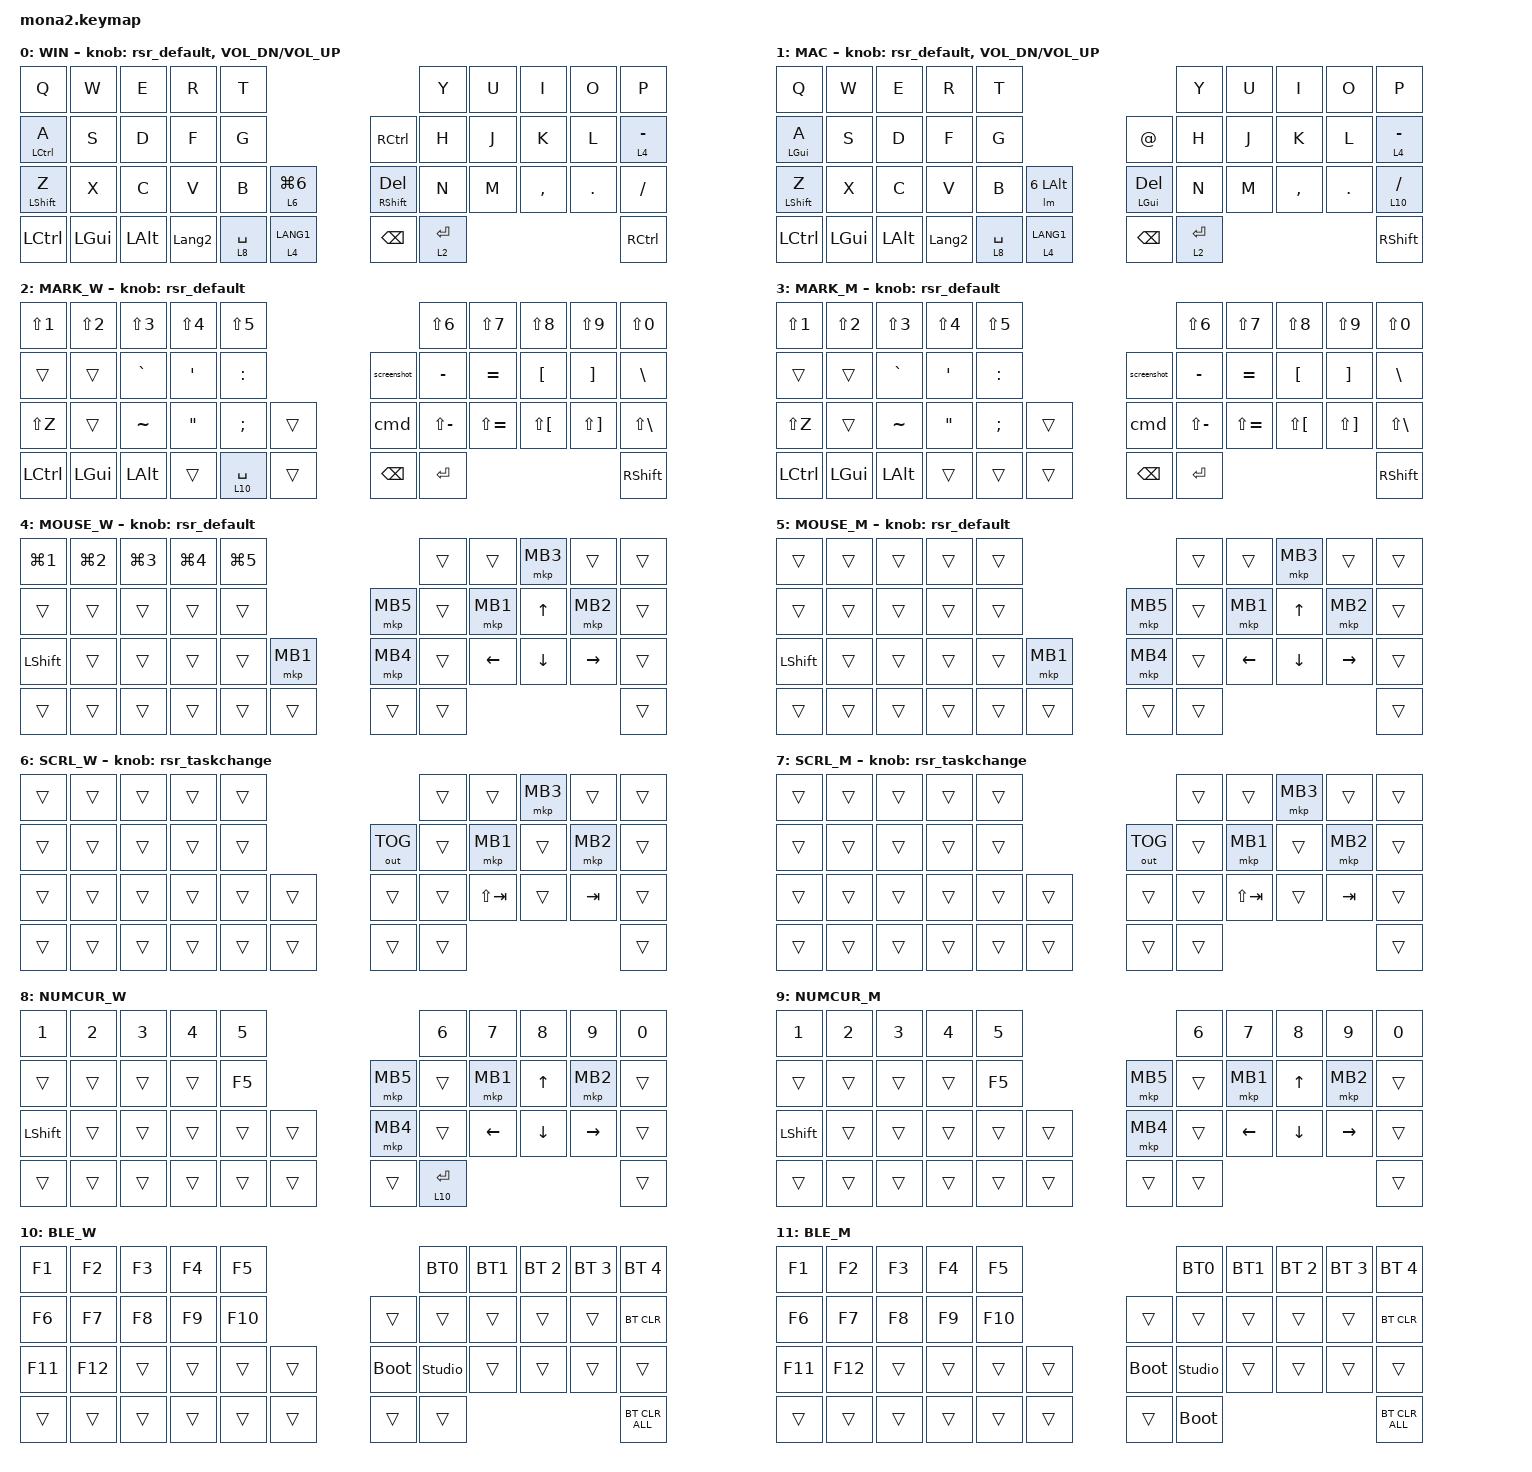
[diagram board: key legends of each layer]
#include <input/processors.dtsi>
#include <dt-bindings/zmk/input_transform.h>
#include <zephyr/dt-bindings/input/input-event-codes.h>
#include <behaviors/runtime-sensor-rotate.dtsi>
#include <behaviors.dtsi>
#include <dt-bindings/zmk/bt.h>
#include <dt-bindings/zmk/keys.h>
#include <dt-bindings/zmk/outputs.h>
#include <dt-bindings/zmk/pointing.h>

/* ZMK 側で 10 が定義済みなので警告回避のため一旦 undef */

#undef ZMK_POINTING_DEFAULT_SCRL_VAL

#define ZMK_POINTING_DEFAULT_SCRL_VAL 100
#include <dt-bindings/zmk/pointing.h>

&mt {
    flavor = "balanced";
    tapping-term-ms = <150>;
    require-prior-idle-ms = <100>;
};

&lt {
    flavor = "balanced";
    tapping-term-ms = <150>;
};

&msc {
    delay-ms = <0>;
    time-to-max-speed-ms = <0>;
    acceleration-exponent = <0>;
};

/ {
    combos {
        compatible = "zmk,combos";

        layer4_ESC {
            bindings = <&lt 4 ESC>;
            key-positions = <38 39>;
        };

        tab {
            bindings = <&kp TAB>;
            key-positions = <11 12>;
        };

        left_click {
            bindings = <&mkp MB1>;
            key-positions = <17 18>;
        };

        right_click {
            bindings = <&mkp MB2>;
            key-positions = <18 19>;
        };
    };

    macros {
        to_layer_0: to_layer_0 {
            compatible = "zmk,behavior-macro-one-param";
            #binding-cells = <1>;
            bindings = <&to 0 &macro_param_1to1 &kp MACRO_PLACEHOLDER>;
            label = "TO_LAYER_0";
        };

        BT0: BT0 {
            compatible = "zmk,behavior-macro";
            #binding-cells = <0>;
            bindings =
                <&tog_off 0 &tog_off 1>,
                <&macro_wait_time 200>,
                <&bt BT_SEL 0>,
                <&macro_wait_time 500>,
                <&tog_on 0>;

            label = "BT0";
        };

        BT1: BT1 {
            compatible = "zmk,behavior-macro";
            #binding-cells = <0>;
            bindings =
                <&tog_off 0 &tog_off 1>,
                <&macro_wait_time 200>,
                <&bt BT_SEL 1>,
                <&macro_wait_time 500>,
                <&tog_on 1>;

            label = "BT1";
        };

        screenshot: screenshot {
            compatible = "zmk,behavior-macro";
            #binding-cells = <0>;
            bindings =
                <&macro_press>,
                <&kp LEFT_GUI &kp RSHIFT>,
                <&macro_wait_time 20>,
                <&macro_tap>,
                <&kp S>,
                <&macro_release>,
                <&kp LEFT_GUI &kp RSHIFT>;

            label = "SCREENSHOT";
        };

        cmd: cmd {
            compatible = "zmk,behavior-macro";
            #binding-cells = <0>;
            bindings =
                <&macro_press>,
                <&kp LEFT_GUI &kp RSHIFT>,
                <&macro_wait_time 20>,
                <&macro_tap>,
                <&kp Z>,
                <&macro_release>,
                <&kp LEFT_GUI &kp RSHIFT>;

            label = "CMD";
        };

        lm: lm {
            compatible = "zmk,behavior-macro-two-param";
            wait-ms = <0>;
            tap-ms = <0>;
            #binding-cells = <2>;
            bindings =
                <&macro_param_1to1>,
                <&macro_press>,
                <&mo MACRO_PLACEHOLDER &macro_param_2to1>,
                <&macro_press>,
                <&kp MACRO_PLACEHOLDER>,
                <&macro_pause_for_release>,
                <&macro_param_2to1>,
                <&macro_release>,
                <&kp MACRO_PLACEHOLDER &macro_param_1to1>,
                <&macro_release>,
                <&mo MACRO_PLACEHOLDER>;
        };
    };

    behaviors {
        lt_to_layer_0: lt_to_layer_0 {
            compatible = "zmk,behavior-hold-tap";
            label = "LAYER_TAP_TO_0";
            bindings = <&mo>, <&to_layer_0>;

            #binding-cells = <2>;
            tapping-term-ms = <200>;
        };

        tp_repeat_mo1: tp_repeat_mo1 {
            compatible = "zmk,behavior-hold-tap";
            label = "TP_REPEAT_MO1";
            bindings = <&mo>, <&key_repeat>;

            #binding-cells = <2>;
            tapping-term-ms = <200>;
        };

        // エンコーダ用 runtime-configurable sensor rotate
        // デフォルトはスクロール (cw=SCRL_DOWN, ccw=SCRL_UP)
        // DYA Studio Web UI から レイヤーごとに cw/ccw の binding を
        // kp C_VOL_UP/DN や kp LEFT/RIGHT などへ動的変更可能

        rsr_default: rsr_default {
            compatible = "zmk,behavior-runtime-sensor-rotate";
            #sensor-binding-cells = <0>;
            tap-ms = <16>;
            cw-binding = <&msc SCRL_DOWN>;
            ccw-binding = <&msc SCRL_UP>;
        };

        // DYA Studio対応 エンコーダータスク切換えアサイン
        rsr_taskchange: rsr_taskchange {
            compatible = "zmk,behavior-runtime-sensor-rotate";
            #sensor-binding-cells = <0>;
            cw-binding = <&kp TAB>;
            ccw-binding = <&kp LS(TAB)>;
        };

        tog_on: toggle_layer_on_only {
            compatible = "zmk,behavior-toggle-layer";
            #binding-cells = <1>;
            display-name = "Toggle Layer On";
            toggle-mode = "on";
        };

        tog_off: toggle_layer_off_only {
            compatible = "zmk,behavior-toggle-layer";
            #binding-cells = <1>;
            display-name = "Toggle Layer Off";
            toggle-mode = "off";
        };
    };

    keymap {
        compatible = "zmk,keymap";

        win_layer {
            display-name = "WIN";
            bindings = <
&kp Q             &kp W         &kp E         &kp R           &kp T                                         &kp Y         &kp U  &kp I      &kp O    &kp P
&mt LCTRL A       &kp S         &kp D         &kp F           &kp G                       &kp RCTRL            &kp H         &kp J  &kp K      &kp L    &lt 4 MINUS
&mt LEFT_SHIFT Z  &kp X         &kp C         &kp V           &kp B        &lt 6 LG(N6)     &mt RSHIFT DELETE  &kp N         &kp M  &kp COMMA  &kp DOT  &kp SLASH
&kp LCTRL         &kp LEFT_GUI  &kp LEFT_ALT  &kp LANGUAGE_2  &lt 8 SPACE  &lt 4 LANG1    &kp BACKSPACE     &lt 2 RETURN                             &kp RCTRL
            >;

            sensor-bindings = <&rsr_default>, <&inc_dec_kp C_VOL_DN C_VOL_UP>;
        };

        mac_layer {
            display-name = "MAC";
            bindings = <
&kp Q             &kp W         &kp E         &kp R           &kp T                                         &kp Y         &kp U  &kp I      &kp O    &kp P
&mt LGUI A       &kp S         &kp D         &kp F           &kp G                       &kp AT            &kp H         &kp J  &kp K      &kp L    &lt 4 MINUS
&mt LEFT_SHIFT Z  &kp X         &kp C         &kp V           &kp B        &lm 6 LALT     &mt LGUI DELETE  &kp N         &kp M  &kp COMMA  &kp DOT  &lt 10 SLASH
&kp LCTRL         &kp LEFT_GUI  &kp LEFT_ALT  &kp LANGUAGE_2  &lt 8 SPACE  &lt 4 LANG1    &kp BACKSPACE     &lt 2 RETURN                             &kp RIGHT_SHIFT
            >;

            sensor-bindings = <&rsr_default>, <&inc_dec_kp C_VOL_DN C_VOL_UP>;
        };

        win_mark {
            display-name = "MARK_W";
            bindings = <
&kp LS(N1)  &kp LS(N2)    &kp LS(N3)    &kp LS(N4)         &kp LS(N5)                              &kp LS(N6)     &kp LS(N7)     &kp LS(N8)    &kp LS(N9)    &kp LS(N0)
&trans      &trans        &kp GRAVE     &kp SINGLE_QUOTE   &kp COLON                &screenshot    &kp MINUS      &kp EQUAL      &kp LBKT      &kp RBKT      &kp BACKSLASH
&kp LS(Z)   &trans        &kp TILDE     &kp DOUBLE_QUOTES  &kp SEMICOLON  &trans    &cmd           &kp LS(MINUS)  &kp LS(EQUAL)  &kp LS(LBKT)  &kp LS(RBKT)  &kp LS(BACKSLASH)
&kp LCTRL   &kp LEFT_GUI  &kp LEFT_ALT  &trans             &lt 10 SPACE      &trans    &kp BACKSPACE  &kp RET                                                   &kp RIGHT_SHIFT
            >;

            sensor-bindings = <&rsr_default>;
        };

        mac_mark {
            display-name = "MARK_M";
            bindings = <
&kp LS(N1)  &kp LS(N2)    &kp LS(N3)    &kp LS(N4)         &kp LS(N5)                              &kp LS(N6)     &kp LS(N7)     &kp LS(N8)    &kp LS(N9)    &kp LS(N0)
&trans      &trans        &kp GRAVE     &kp SINGLE_QUOTE   &kp COLON                &screenshot    &kp MINUS      &kp EQUAL      &kp LBKT      &kp RBKT      &kp BACKSLASH
&kp LS(Z)   &trans        &kp TILDE     &kp DOUBLE_QUOTES  &kp SEMICOLON  &trans    &cmd           &kp LS(MINUS)  &kp LS(EQUAL)  &kp LS(LBKT)  &kp LS(RBKT)  &kp LS(BACKSLASH)
&kp LCTRL   &kp LEFT_GUI  &kp LEFT_ALT  &trans             &trans         &trans    &kp BACKSPACE  &kp RET                                                   &kp RIGHT_SHIFT
            >;

            sensor-bindings = <&rsr_default>;
        };

        win_mouse {
            display-name = "MOUSE_W";
            bindings = <
&kp LG(N1)  &kp LG(N2)  &kp LG(N3)  &kp LG(N4)  &kp LG(N5)         &trans  &trans        &mkp MB3  &trans     &trans
&trans      &trans  &trans  &trans  &trans              &mkp MB5  &trans  &mkp MB1      &kp UP    &mkp MB2   &trans
&kp LSHIFT  &trans  &trans  &trans  &trans  &mkp MB1    &mkp MB4  &trans  &kp LEFT      &kp DOWN  &kp RIGHT  &trans
&trans      &trans  &trans  &trans  &trans  &trans      &trans    &trans                                     &trans
            >;

            sensor-bindings = <&rsr_default>;
        };

        mac_mouse {
            display-name = "MOUSE_M";
            bindings = <
&trans      &trans  &trans  &trans  &trans                        &trans  &trans        &mkp MB3  &trans     &trans
&trans      &trans  &trans  &trans  &trans              &mkp MB5  &trans  &mkp MB1      &kp UP    &mkp MB2   &trans
&kp LSHIFT  &trans  &trans  &trans  &trans  &mkp MB1    &mkp MB4  &trans  &kp LEFT      &kp DOWN  &kp RIGHT  &trans
&trans      &trans  &trans  &trans  &trans  &trans      &trans    &trans                                     &trans
            >;

            sensor-bindings = <&rsr_default>;
        };

        win_scroll {
            display-name = "SCRL_W";
            bindings = <
&trans  &trans  &trans  &trans  &trans                          &trans  &trans       &mkp MB3  &trans    &trans
&trans  &trans  &trans  &trans  &trans            &out OUT_TOG  &trans  &mkp MB1     &trans    &mkp MB2  &trans
&trans  &trans  &trans  &trans  &trans  &trans    &trans        &trans  &kp LS(TAB)  &trans    &kp TAB   &trans
&trans  &trans  &trans  &trans  &trans  &trans    &trans        &trans                                   &trans
            >;

            sensor-bindings = <&rsr_taskchange>;
        };

        mac_scroll {
            display-name = "SCRL_M";
            bindings = <
&trans  &trans  &trans  &trans  &trans                          &trans  &trans       &mkp MB3  &trans    &trans
&trans  &trans  &trans  &trans  &trans            &out OUT_TOG  &trans  &mkp MB1     &trans    &mkp MB2  &trans
&trans  &trans  &trans  &trans  &trans  &trans    &trans        &trans  &kp LS(TAB)  &trans    &kp TAB   &trans
&trans  &trans  &trans  &trans  &trans  &trans    &trans        &trans                                   &trans
            >;

            sensor-bindings = <&rsr_taskchange>;
        };
        win_numcur {
            display-name = "NUMCUR_W";
            bindings = <
&kp NUMBER_1  &kp NUMBER_2  &kp NUMBER_3  &kp NUMBER_4  &kp NUMBER_5                      &kp NUMBER_6  &kp NUMBER_7    &kp NUMBER_8    &kp NUMBER_9     &kp NUMBER_0
&trans        &trans        &trans        &trans        &kp F5            &mkp MB5  &trans        &mkp MB1        &kp UP_ARROW    &mkp MB2         &trans
&kp LSHFT     &trans        &trans        &trans        &trans  &trans    &mkp MB4  &trans        &kp LEFT_ARROW  &kp DOWN_ARROW  &kp RIGHT_ARROW  &trans
&trans        &trans        &trans        &trans        &trans  &trans    &trans    &lt 10 RETURN                                                         &trans
            >;
        };

        mac_numcur {
            display-name = "NUMCUR_M";
            bindings = <
&kp NUMBER_1  &kp NUMBER_2  &kp NUMBER_3  &kp NUMBER_4  &kp NUMBER_5                      &kp NUMBER_6  &kp NUMBER_7    &kp NUMBER_8    &kp NUMBER_9     &kp NUMBER_0
&trans        &trans        &trans        &trans        &kp F5            &mkp MB5  &trans        &mkp MB1        &kp UP_ARROW    &mkp MB2         &trans
&kp LSHFT     &trans        &trans        &trans        &trans  &trans    &mkp MB4  &trans        &kp LEFT_ARROW  &kp DOWN_ARROW  &kp RIGHT_ARROW  &trans
&trans        &trans        &trans        &trans        &trans  &trans    &trans    &trans                                                         &trans
            >;
        };

        win_ble {
            display-name = "BLE_W";
            bindings = <
&kp F1   &kp F2   &kp F3  &kp F4  &kp F5                          &BT0              &BT1    &bt BT_SEL 2  &bt BT_SEL 3  &bt BT_SEL 4
&kp F6   &kp F7   &kp F8  &kp F9  &kp F10            &trans       &trans            &trans  &trans        &trans        &bt BT_CLR
&kp F11  &kp F12  &trans  &trans  &trans   &trans    &bootloader  &studio_unlock    &trans  &trans        &trans        &trans
&trans   &trans   &trans  &trans  &trans   &trans    &trans       &trans                                           &bt BT_CLR_ALL
            >;
        };

        mac_ble {
            display-name = "BLE_M";
            bindings = <
&kp F1   &kp F2   &kp F3  &kp F4  &kp F5                          &BT0              &BT1    &bt BT_SEL 2  &bt BT_SEL 3  &bt BT_SEL 4
&kp F6   &kp F7   &kp F8  &kp F9  &kp F10            &trans       &trans            &trans  &trans        &trans        &bt BT_CLR
&kp F11  &kp F12  &trans  &trans  &trans   &trans    &bootloader  &studio_unlock    &trans  &trans        &trans        &trans
&trans   &trans   &trans  &trans  &trans   &trans    &trans       &bootloader                                           &bt BT_CLR_ALL
            >;
        };
    };
};
